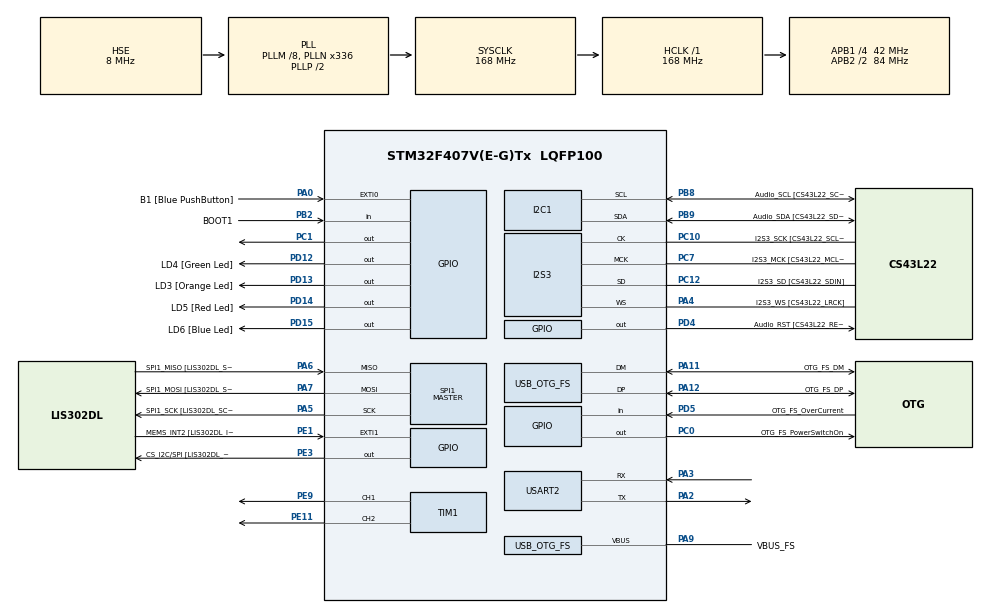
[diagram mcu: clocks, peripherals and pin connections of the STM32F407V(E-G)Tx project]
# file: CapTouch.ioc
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Dma.Request0=TIM1_CH1/CH2/CH3
Dma.TIM1_CH1/CH2/CH3.0.Direction=DMA_MEMORY_TO_PERIPH
Dma.TIM1_CH1/CH2/CH3.0.FIFOMode=DMA_FIFOMODE_DISABLE
Dma.TIM1_CH1/CH2/CH3.0.Instance=DMA2_Stream6
Dma.TIM1_CH1/CH2/CH3.0.MemDataAlignment=DMA_MDATAALIGN_HALFWORD
Dma.TIM1_CH1/CH2/CH3.0.MemInc=DMA_MINC_ENABLE
Dma.TIM1_CH1/CH2/CH3.0.Mode=DMA_NORMAL
Dma.TIM1_CH1/CH2/CH3.0.PeriphDataAlignment=DMA_PDATAALIGN_HALFWORD
Dma.TIM1_CH1/CH2/CH3.0.PeriphInc=DMA_PINC_DISABLE
Dma.TIM1_CH1/CH2/CH3.0.Priority=DMA_PRIORITY_LOW
I2S3.AudioFreq-Half_Duplex_Master=I2S_AUDIOFREQ_96K
I2S3.ErrorAudioFreq=-2.34 %
I2S3.ErrorAudioFreq-Half_Duplex_Master=0.8 %
I2S3.FullDuplexMode=I2S_FULLDUPLEXMODE_DISABLE
I2S3.Instance=SPI$Index
I2S3.RealAudioFreq=93.75 KHz
I2S3.RealAudioFreq-Half_Duplex_Master=96.774 KHz
I2S3.VirtualMode=I2S_MODE_MASTER
Mcu.Family=STM32F4
Mcu.Name=STM32F407V(E-G)Tx
Mcu.Package=LQFP100
NVIC.DMA2_Stream6_IRQn=true\:0\:0\:false\:false\:true\:false\:true
NVIC.OTG_FS_IRQn=true\:0\:0\:false\:false\:true\:true\:true
NVIC.PriorityGroup=NVIC_PRIORITYGROUP_0
PA0-WKUP.GPIO_Label=B1 [Blue PushButton]
PA0-WKUP.GPIO_ModeDefaultEXTI=GPIO_MODE_EVT_RISING
PA0-WKUP.GPIO_PuPd=GPIO_NOPULL
PA0-WKUP.Signal=GPXTI0
PA10.GPIO_Label=OTG_FS_ID
PA10.GPIO_Mode=GPIO_MODE_AF_PP
PA10.GPIO_PuPd=GPIO_NOPULL
PA10.GPIO_Speed=GPIO_SPEED_FREQ_LOW
PA10.Signal=USB_OTG_FS_ID
PA11.GPIO_Label=OTG_FS_DM
PA11.GPIO_Mode=GPIO_MODE_AF_PP
PA11.GPIO_PuPd=GPIO_NOPULL
PA11.GPIO_Speed=GPIO_SPEED_FREQ_LOW
PA11.Mode=Host_Only
PA11.Signal=USB_OTG_FS_DM
PA12.GPIO_Label=OTG_FS_DP
PA12.GPIO_Mode=GPIO_MODE_AF_PP
PA12.GPIO_PuPd=GPIO_NOPULL
PA12.GPIO_Speed=GPIO_SPEED_FREQ_LOW
PA12.Mode=Host_Only
PA12.Signal=USB_OTG_FS_DP
PA13.GPIO_Label=SWDIO
PA13.Mode=Serial_Wire
PA13.Signal=SYS_JTMS-SWDIO
PA14.GPIO_Label=SWCLK
PA14.Mode=Serial_Wire
PA14.Signal=SYS_JTCK-SWCLK
PA2.Mode=Asynchronous
PA2.Signal=USART2_TX
PA3.Mode=Asynchronous
PA3.Signal=USART2_RX
PA4.GPIO_Label=I2S3_WS [CS43L22_LRCK]
PA4.GPIO_Mode=GPIO_MODE_AF_PP
PA4.GPIO_PuPd=GPIO_NOPULL
PA4.GPIO_Speed=GPIO_SPEED_FREQ_LOW
PA4.Mode=Half_Duplex_Master
PA4.Signal=I2S3_WS
PA5.GPIO_Label=SPI1_SCK [LIS302DL_SCL/SPC]
PA5.GPIO_Mode=GPIO_MODE_AF_PP
PA5.GPIO_PuPd=GPIO_NOPULL
PA5.GPIO_Speed=GPIO_SPEED_FREQ_LOW
PA5.Mode=Full_Duplex_Master
PA5.Signal=SPI1_SCK
PA6.GPIO_Label=SPI1_MISO [LIS302DL_SDO]
PA6.GPIO_Mode=GPIO_MODE_AF_PP
PA6.GPIO_PuPd=GPIO_NOPULL
PA6.GPIO_Speed=GPIO_SPEED_FREQ_LOW
PA6.Mode=Full_Duplex_Master
PA6.Signal=SPI1_MISO
PA7.GPIO_Label=SPI1_MOSI [LIS302DL_SDA/SDI/SDO]
PA7.GPIO_Mode=GPIO_MODE_AF_PP
PA7.GPIO_PuPd=GPIO_NOPULL
PA7.GPIO_Speed=GPIO_SPEED_FREQ_LOW
PA7.Mode=Full_Duplex_Master
PA7.Signal=SPI1_MOSI
PA9.GPIO_Label=VBUS_FS
PA9.GPIO_Mode=GPIO_MODE_INPUT
PA9.GPIO_PuPd=GPIO_NOPULL
PA9.Mode=Activate_VBUS
PA9.Signal=USB_OTG_FS_VBUS
PB10.GPIO_Label=CLK_IN [MP45DT02_CLK]
PB10.GPIO_Mode=GPIO_MODE_AF_PP
PB10.GPIO_PuPd=GPIO_NOPULL
PB10.GPIO_Speed=GPIO_SPEED_FREQ_LOW
PB10.Signal=I2S2_CK
PB2.GPIO_Label=BOOT1
PB2.GPIO_Mode=GPIO_MODE_INPUT
PB2.GPIO_PuPd=GPIO_NOPULL
PB2.Signal=GPIO_Input
PB3.Signal=SYS_JTDO-SWO
PB8.GPIO_Label=Audio_SCL [CS43L22_SCL]
PB8.GPIO_Mode=GPIO_MODE_AF_OD
PB8.GPIO_Pu=GPIO_PULLUP
PB8.GPIO_Speed=GPIO_SPEED_FREQ_LOW
PB8.Mode=I2C
PB8.Signal=I2C1_SCL
PB9.GPIO_Label=Audio_SDA [CS43L22_SDA]
PB9.GPIO_Mode=GPIO_MODE_AF_OD
PB9.GPIO_Pu=GPIO_PULLUP
PB9.GPIO_PuPd=GPIO_NOPULL
PB9.GPIO_Speed=GPIO_SPEED_FREQ_LOW
PB9.Mode=I2C
PB9.Signal=I2C1_SDA
PC0.GPIO_Label=OTG_FS_PowerSwitchOn
PC0.GPIO_PuPd=GPIO_NOPULL
PC0.GPIO_Speed=GPIO_SPEED_FREQ_LOW
PC0.PinState=GPIO_PIN_SET
PC0.Signal=GPIO_Output
PC1.Signal=GPIO_Output
PC10.GPIO_Label=I2S3_SCK [CS43L22_SCLK]
PC10.GPIO_Mode=GPIO_MODE_AF_PP
PC10.GPIO_PuPd=GPIO_NOPULL
PC10.GPIO_Speed=GPIO_SPEED_FREQ_LOW
PC10.Mode=Half_Duplex_Master
PC10.Signal=I2S3_CK
PC12.GPIO_Label=I2S3_SD [CS43L22_SDIN]
PC12.GPIO_Mode=GPIO_MODE_AF_PP
PC12.GPIO_PuPd=GPIO_NOPULL
PC12.GPIO_Speed=GPIO_SPEED_FREQ_LOW
PC12.Mode=Half_Duplex_Master
PC12.Signal=I2S3_SD
PC14-OSC32_IN.GPIO_Label=PC14-OSC32_IN
PC14-OSC32_IN.Mode=LSE-External-Oscillator
PC14-OSC32_IN.Signal=RCC_OSC32_IN
PC15-OSC32_OUT.GPIO_Label=PC15-OSC32_OUT
PC15-OSC32_OUT.Mode=LSE-External-Oscillator
PC15-OSC32_OUT.Signal=RCC_OSC32_OUT
PC3.GPIO_Label=PDM_OUT [MP45DT02_DOUT]
PC3.GPIO_Mode=GPIO_MODE_AF_PP
PC3.GPIO_PuPd=GPIO_NOPULL
PC3.GPIO_Speed=GPIO_SPEED_FREQ_LOW
PC3.Signal=I2S2_SD
PC7.GPIO_Label=I2S3_MCK [CS43L22_MCLK]
PC7.GPIO_Mode=GPIO_MODE_AF_PP
PC7.GPIO_PuPd=GPIO_NOPULL
PC7.GPIO_Speed=GPIO_SPEED_FREQ_LOW
PC7.Mode=Master_Clock_Activated
PC7.Signal=I2S3_MCK
PD12.GPIO_Label=LD4 [Green Led]
PD12.GPIO_PuPd=GPIO_NOPULL
PD12.GPIO_Speed=GPIO_SPEED_FREQ_LOW
PD12.Signal=GPIO_Output
PD13.GPIO_Label=LD3 [Orange Led]
PD13.GPIO_PuPd=GPIO_NOPULL
PD13.GPIO_Speed=GPIO_SPEED_FREQ_LOW
PD13.Signal=GPIO_Output
PD14.GPIO_Label=LD5 [Red Led]
PD14.GPIO_PuPd=GPIO_NOPULL
PD14.GPIO_Speed=GPIO_SPEED_FREQ_LOW
PD14.Signal=GPIO_Output
PD15.GPIO_Label=LD6 [Blue Led]
PD15.GPIO_PuPd=GPIO_NOPULL
PD15.GPIO_Speed=GPIO_SPEED_FREQ_LOW
PD15.Signal=GPIO_Output
PD4.GPIO_Label=Audio_RST [CS43L22_RESET]
PD4.GPIO_PuPd=GPIO_NOPULL
PD4.GPIO_Speed=GPIO_SPEED_FREQ_LOW
PD4.Signal=GPIO_Output
PD5.GPIO_Label=OTG_FS_OverCurrent
PD5.GPIO_Mode=GPIO_MODE_INPUT
PD5.GPIO_PuPd=GPIO_NOPULL
PD5.Signal=GPIO_Input
PE1.GPIO_Label=MEMS_INT2 [LIS302DL_INT2]
PE1.GPIO_ModeDefaultEXTI=GPIO_MODE_EVT_RISING
PE1.GPIO_PuPd=GPIO_NOPULL
PE1.Signal=GPXTI1
PE11.Signal=S_TIM1_CH2
PE3.GPIO_Label=CS_I2C/SPI [LIS302DL_CS_I2C/SPI]
PE3.GPIO_PuPd=GPIO_NOPULL
PE3.GPIO_Speed=GPIO_SPEED_FREQ_LOW
PE3.Signal=GPIO_Output
PE9.Signal=S_TIM1_CH1
PH0-OSC_IN.GPIO_Label=PH0-OSC_IN
PH0-OSC_IN.Mode=HSE-External-Oscillator
PH0-OSC_IN.Signal=RCC_OSC_IN
PH1-OSC_OUT.GPIO_Label=PH1-OSC_OUT
PH1-OSC_OUT.Mode=HSE-External-Oscillator
PH1-OSC_OUT.Signal=RCC_OSC_OUT
ProjectManager.HeapSize=0x200
ProjectManager.StackSize=0x400
ProjectManager.TargetToolchain=STM32CubeIDE
RCC.48MHZClocksFreq_Value=48000000
RCC.AHBFreq_Value=168000000
RCC.APB1CLKDivider=RCC_HCLK_DIV4
RCC.APB1Freq_Value=42000000
RCC.APB1TimFreq_Value=84000000
RCC.APB2CLKDivider=RCC_HCLK_DIV2
RCC.APB2Freq_Value=84000000
RCC.APB2TimFreq_Value=168000000
RCC.CortexFreq_Value=168000000
RCC.HCLKFreq_Value=168000000
RCC.HSE_VALUE=8000000
RCC.HSI_VALUE=16000000
RCC.PLLM=8
RCC.PLLN=336
RCC.PLLQ=7
RCC.SYSCLKFreq_VALUE=168000000
RCC.SYSCLKSource=RCC_SYSCLKSOURCE_PLLCLK
RCC.VCOOutputFreq_Value=336000000
SH.S_TIM1_CH1.0=TIM1_CH1,PWM Generation1 CH1
SH.S_TIM1_CH2.0=TIM1_CH2,PWM Generation2 CH2
SPI1.BaudRatePrescaler-Full_Duplex_Master=SPI_BAUDRATEPRESCALER_2
SPI1.CalculateBaudRate-Full_Duplex_Master=42.0 MBits/s
SPI1.Direction=SPI_DIRECTION_2LINES
SPI1.Mode=SPI_MODE_MASTER
SPI1.Mode-Full_Duplex_Master=SPI_MODE_MASTER
SPI1.VirtualType=VM_MASTER
TIM1.Channel-PWM\ Generation1\ CH1=TIM_CHANNEL_1
TIM1.Channel-PWM\ Generation2\ CH2=TIM_CHANNEL_2
USART2.VirtualMode=VM_ASYNC
USB_HOST.BSP.number=1
USB_HOST.USBH_HandleTypeDef-CDC_FS=hUsbHostFS
USB_HOST.VirtualModeFS=Cdc
USB_HOST0.BSP.STBoard=false
USB_HOST0.BSP.api=Unknown
USB_HOST0.BSP.i2caddr=0
USB_HOST0.BSP.i2creg=0
USB_HOST0.BSP.instance=PC0
USB_HOST0.BSP.ip=GPIO
USB_HOST0.BSP.mode=Output
USB_HOST0.BSP.name=Drive_VBUS_FS
USB_HOST0.BSP.solution=PC0
USB_OTG_FS.VirtualMode=Host_Only
USB_OTG_FS.phy_itface=HCD_PHY_EMBEDDED
VP_USB_HOST_VS_USB_HOST_CDC_FS.Mode=CDC_FS
board=STM32F407G-DISC1

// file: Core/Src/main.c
/* USER CODE BEGIN Header */
/**
  ******************************************************************************
  * @file           : main.c
  * @brief          : Main program body
  ******************************************************************************
  * @attention
  *
  * Copyright (c) 2022 STMicroelectronics.
  * All rights reserved.
  *
  * This software is licensed under terms that can be found in the LICENSE file
  * in the root directory of this software component.
  * If no LICENSE file comes with this software, it is provided AS-IS.
  *
  ******************************************************************************
  */
/* USER CODE END Header */
#include "main.h"
#include "usb_host.h"

/* USER CODE BEGIN Includes */
#include <string.h>
#include <stdio.h>
#include "LEDControl.h"
/* USER CODE END Includes */

I2C_HandleTypeDef hi2c1;

I2S_HandleTypeDef hi2s3;

SPI_HandleTypeDef hspi1;

TIM_HandleTypeDef htim1;
DMA_HandleTypeDef hdma_tim1_ch1_ch2_ch3;

UART_HandleTypeDef huart2;

/* USER CODE BEGIN PV */
static const uint8_t MPR121_ADDR0 = 0x5C << 1;
static const uint8_t MPR121_ADDR1 = 0x5B << 1;
static const uint8_t MPR121_ADDR2 = 0x5A << 1;
static const uint8_t REG_TOUCH0 = 0x00;
//static const uint8_t REG_TOUCH1 = 0x01;
/* USER CODE END PV */

void SystemClock_Config(void);
static void MX_GPIO_Init(void);
static void MX_I2C1_Init(void);
static void MX_I2S3_Init(void);
static void MX_SPI1_Init(void);
static void MX_USART2_UART_Init(void);
static void MX_DMA_Init(void);
static void MX_TIM1_Init(void);
void MX_USB_HOST_Process(void);

/* USER CODE BEGIN 0 */
void IIC_ByteWrite(uint8_t dev_addr, uint8_t reg_addr, uint8_t data);
void MPR121_init(uint8_t addr);
uint8_t determinePixel(uint16_t* input, uint8_t* pixelSelected);
/* USER CODE END 0 */

int main(void)
{
  /* USER CODE BEGIN 1 */
	HAL_StatusTypeDef ret0;
	uint8_t bufTouch0[2];
	uint8_t bufTouch1[2];
	uint8_t bufTouch2[2];
	uint16_t capTouch[3];
	uint16_t oldCapTouch[3];
	uint8_t gridLoc[2];
	uint8_t UART1_rxBuffer[12] = {0};
	//float val0;
	uint8_t newTouch = 0;
	//float tester = 0;
  /* USER CODE END 1 */

  /* MCU Configuration--------------------------------------------------------*/

  /* Reset of all peripherals, Initializes the Flash interface and the Systick. */
  HAL_Init();

  /* Configure the system clock */
  SystemClock_Config();

  /* Initialize all configured peripherals */
  MX_GPIO_Init();
  MX_I2C1_Init();
  MX_I2S3_Init();
  MX_SPI1_Init();
  MX_USB_HOST_Init();
  MX_USART2_UART_Init();
  MX_DMA_Init();
  MX_TIM1_Init();
  /* USER CODE BEGIN 2 */
  visInit();
  MPR121_init(MPR121_ADDR0);
  MPR121_init(MPR121_ADDR1);
  MPR121_init(MPR121_ADDR2);
  /* USER CODE END 2 */

  /* Infinite loop */
  /* USER CODE BEGIN WHILE */
  // Soft reset the MPR121

  while (1)
  {

	//bufTouch0[0] = REG_TOUCH0;
	ret0 = HAL_I2C_Master_Transmit(&hi2c1, MPR121_ADDR0, bufTouch0, 1, HAL_MAX_DELAY);
	ret0 = HAL_I2C_Mem_Read(&hi2c1, MPR121_ADDR0, REG_TOUCH0, I2C_MEMADD_SIZE_8BIT, bufTouch0, 2, HAL_MAX_DELAY);
	ret0 = HAL_I2C_Mem_Read(&hi2c1, MPR121_ADDR1, REG_TOUCH0, I2C_MEMADD_SIZE_8BIT, bufTouch1, 2, HAL_MAX_DELAY);
	ret0 = HAL_I2C_Mem_Read(&hi2c1, MPR121_ADDR2, REG_TOUCH0, I2C_MEMADD_SIZE_8BIT, bufTouch2, 2, HAL_MAX_DELAY);
	memcpy(capTouch, bufTouch0, 2*sizeof(uint8_t));
	memcpy(capTouch+1, bufTouch1, 2*sizeof(uint8_t));
	memcpy(capTouch+2, bufTouch2, 2*sizeof(uint8_t));
	if ( ret0 != HAL_OK ) {
		//strcpy((char*)bufTouch0, "Error Rx\r\n");
		//tester = 10;
	} else {

		//sprintf((char*)bufTouch0, "%u\r\n", (unsigned int)val0);
	}
	newTouch = determinePixel(capTouch, gridLoc);
	//visHandle(capTouch, gridLoc, newTouch);
	uint8_t data[] = "HELLO WORLD \r\n";
	//HAL_UART_Transmit (&huart2, data, sizeof (data), 10);
	//ret0 = HAL_UART_Receive (&huart2, UART1_rxBuffer, 12, 5000);

	if (newTouch == 1) {
		char buffer[20];
		sprintf(buffer, "x: %i, y: %i\r\n", gridLoc[0], gridLoc[1]);
		ret0 = HAL_UART_Transmit(&huart2, buffer, sizeof(buffer), HAL_MAX_DELAY);
	}
	HAL_Delay(250);
    /* USER CODE END WHILE */
    MX_USB_HOST_Process();

  }
}

void SystemClock_Config(void)
{
  RCC_OscInitTypeDef RCC_OscInitStruct = {0};
  RCC_ClkInitTypeDef RCC_ClkInitStruct = {0};

  /** Configure the main internal regulator output voltage
  */
  __HAL_RCC_PWR_CLK_ENABLE();
  __HAL_PWR_VOLTAGESCALING_CONFIG(PWR_REGULATOR_VOLTAGE_SCALE1);
  /** Initializes the RCC Oscillators according to the specified parameters
  * in the RCC_OscInitTypeDef structure.
  */
  RCC_OscInitStruct.OscillatorType = RCC_OSCILLATORTYPE_HSE;
  RCC_OscInitStruct.HSEState = RCC_HSE_ON;
  RCC_OscInitStruct.PLL.PLLState = RCC_PLL_ON;
  RCC_OscInitStruct.PLL.PLLSource = RCC_PLLSOURCE_HSE;
  RCC_OscInitStruct.PLL.PLLM = 8;
  RCC_OscInitStruct.PLL.PLLN = 336;
  RCC_OscInitStruct.PLL.PLLP = RCC_PLLP_DIV2;
  RCC_OscInitStruct.PLL.PLLQ = 7;
  if (HAL_RCC_OscConfig(&RCC_OscInitStruct) != HAL_OK)
  {
    Error_Handler();
  }
  /** Initializes the CPU, AHB and APB buses clocks
  */
  RCC_ClkInitStruct.ClockType = RCC_CLOCKTYPE_HCLK|RCC_CLOCKTYPE_SYSCLK
                              |RCC_CLOCKTYPE_PCLK1|RCC_CLOCKTYPE_PCLK2;
  RCC_ClkInitStruct.SYSCLKSource = RCC_SYSCLKSOURCE_PLLCLK;
  RCC_ClkInitStruct.AHBCLKDivider = RCC_SYSCLK_DIV1;
  RCC_ClkInitStruct.APB1CLKDivider = RCC_HCLK_DIV4;
  RCC_ClkInitStruct.APB2CLKDivider = RCC_HCLK_DIV2;

  if (HAL_RCC_ClockConfig(&RCC_ClkInitStruct, FLASH_LATENCY_5) != HAL_OK)
  {
    Error_Handler();
  }
}

static void MX_I2C1_Init(void)
{

  hi2c1.Instance = I2C1;
  hi2c1.Init.ClockSpeed = 100000;
  hi2c1.Init.DutyCycle = I2C_DUTYCYCLE_2;
  hi2c1.Init.OwnAddress1 = 0;
  hi2c1.Init.AddressingMode = I2C_ADDRESSINGMODE_7BIT;
  hi2c1.Init.DualAddressMode = I2C_DUALADDRESS_DISABLE;
  hi2c1.Init.OwnAddress2 = 0;
  hi2c1.Init.GeneralCallMode = I2C_GENERALCALL_DISABLE;
  hi2c1.Init.NoStretchMode = I2C_NOSTRETCH_DISABLE;
  if (HAL_I2C_Init(&hi2c1) != HAL_OK)
  {
    Error_Handler();
  }

}

static void MX_I2S3_Init(void)
{

  hi2s3.Instance = SPI3;
  hi2s3.Init.Mode = I2S_MODE_MASTER_TX;
  hi2s3.Init.Standard = I2S_STANDARD_PHILIPS;
  hi2s3.Init.DataFormat = I2S_DATAFORMAT_16B;
  hi2s3.Init.MCLKOutput = I2S_MCLKOUTPUT_ENABLE;
  hi2s3.Init.AudioFreq = I2S_AUDIOFREQ_96K;
  hi2s3.Init.CPOL = I2S_CPOL_LOW;
  hi2s3.Init.ClockSource = I2S_CLOCK_PLL;
  hi2s3.Init.FullDuplexMode = I2S_FULLDUPLEXMODE_DISABLE;
  if (HAL_I2S_Init(&hi2s3) != HAL_OK)
  {
    Error_Handler();
  }

}

static void MX_SPI1_Init(void)
{

  /* SPI1 parameter configuration*/
  hspi1.Instance = SPI1;
  hspi1.Init.Mode = SPI_MODE_MASTER;
  hspi1.Init.Direction = SPI_DIRECTION_2LINES;
  hspi1.Init.DataSize = SPI_DATASIZE_8BIT;
  hspi1.Init.CLKPolarity = SPI_POLARITY_LOW;
  hspi1.Init.CLKPhase = SPI_PHASE_1EDGE;
  hspi1.Init.NSS = SPI_NSS_SOFT;
  hspi1.Init.BaudRatePrescaler = SPI_BAUDRATEPRESCALER_2;
  hspi1.Init.FirstBit = SPI_FIRSTBIT_MSB;
  hspi1.Init.TIMode = SPI_TIMODE_DISABLE;
  hspi1.Init.CRCCalculation = SPI_CRCCALCULATION_DISABLE;
  hspi1.Init.CRCPolynomial = 10;
  if (HAL_SPI_Init(&hspi1) != HAL_OK)
  {
    Error_Handler();
  }

}

static void MX_TIM1_Init(void)
{

  TIM_MasterConfigTypeDef sMasterConfig = {0};
  TIM_OC_InitTypeDef sConfigOC = {0};
  TIM_BreakDeadTimeConfigTypeDef sBreakDeadTimeConfig = {0};

  htim1.Instance = TIM1;
  htim1.Init.Prescaler = 0;
  htim1.Init.CounterMode = TIM_COUNTERMODE_UP;
  htim1.Init.Period = 65535;
  htim1.Init.ClockDivision = TIM_CLOCKDIVISION_DIV1;
  htim1.Init.RepetitionCounter = 0;
  htim1.Init.AutoReloadPreload = TIM_AUTORELOAD_PRELOAD_DISABLE;
  if (HAL_TIM_PWM_Init(&htim1) != HAL_OK)
  {
    Error_Handler();
  }
  sMasterConfig.MasterOutputTrigger = TIM_TRGO_RESET;
  sMasterConfig.MasterSlaveMode = TIM_MASTERSLAVEMODE_DISABLE;
  if (HAL_TIMEx_MasterConfigSynchronization(&htim1, &sMasterConfig) != HAL_OK)
  {
    Error_Handler();
  }
  sConfigOC.OCMode = TIM_OCMODE_PWM1;
  sConfigOC.Pulse = 0;
  sConfigOC.OCPolarity = TIM_OCPOLARITY_HIGH;
  sConfigOC.OCNPolarity = TIM_OCNPOLARITY_HIGH;
  sConfigOC.OCFastMode = TIM_OCFAST_DISABLE;
  sConfigOC.OCIdleState = TIM_OCIDLESTATE_RESET;
  sConfigOC.OCNIdleState = TIM_OCNIDLESTATE_RESET;
  if (HAL_TIM_PWM_ConfigChannel(&htim1, &sConfigOC, TIM_CHANNEL_1) != HAL_OK)
  {
    Error_Handler();
  }
  if (HAL_TIM_PWM_ConfigChannel(&htim1, &sConfigOC, TIM_CHANNEL_2) != HAL_OK)
  {
    Error_Handler();
  }
  sBreakDeadTimeConfig.OffStateRunMode = TIM_OSSR_DISABLE;
  sBreakDeadTimeConfig.OffStateIDLEMode = TIM_OSSI_DISABLE;
  sBreakDeadTimeConfig.LockLevel = TIM_LOCKLEVEL_OFF;
  sBreakDeadTimeConfig.DeadTime = 0;
  sBreakDeadTimeConfig.BreakState = TIM_BREAK_DISABLE;
  sBreakDeadTimeConfig.BreakPolarity = TIM_BREAKPOLARITY_HIGH;
  sBreakDeadTimeConfig.AutomaticOutput = TIM_AUTOMATICOUTPUT_DISABLE;
  if (HAL_TIMEx_ConfigBreakDeadTime(&htim1, &sBreakDeadTimeConfig) != HAL_OK)
  {
    Error_Handler();
  }
  HAL_TIM_MspPostInit(&htim1);

}

static void MX_USART2_UART_Init(void)
{

  huart2.Instance = USART2;
  huart2.Init.BaudRate = 115200;
  huart2.Init.WordLength = UART_WORDLENGTH_8B;
  huart2.Init.StopBits = UART_STOPBITS_1;
  huart2.Init.Parity = UART_PARITY_NONE;
  huart2.Init.Mode = UART_MODE_TX_RX;
  huart2.Init.HwFlowCtl = UART_HWCONTROL_NONE;
  huart2.Init.OverSampling = UART_OVERSAMPLING_16;
  if (HAL_UART_Init(&huart2) != HAL_OK)
  {
    Error_Handler();
  }

}

static void MX_DMA_Init(void)
{

  /* DMA controller clock enable */
  __HAL_RCC_DMA2_CLK_ENABLE();

  /* DMA interrupt init */
  /* DMA2_Stream6_IRQn interrupt configuration */
  HAL_NVIC_SetPriority(DMA2_Stream6_IRQn, 0, 0);
  HAL_NVIC_EnableIRQ(DMA2_Stream6_IRQn);

}

static void MX_GPIO_Init(void)
{
  GPIO_InitTypeDef GPIO_InitStruct = {0};

  /* GPIO Ports Clock Enable */
  __HAL_RCC_GPIOE_CLK_ENABLE();
  __HAL_RCC_GPIOC_CLK_ENABLE();
  __HAL_RCC_GPIOH_CLK_ENABLE();
  __HAL_RCC_GPIOA_CLK_ENABLE();
  __HAL_RCC_GPIOB_CLK_ENABLE();
  __HAL_RCC_GPIOD_CLK_ENABLE();

  /*Configure GPIO pin Output Level */
  HAL_GPIO_WritePin(CS_I2C_SPI_GPIO_Port, CS_I2C_SPI_Pin, GPIO_PIN_RESET);

  /*Configure GPIO pin Output Level */
  HAL_GPIO_WritePin(OTG_FS_PowerSwitchOn_GPIO_Port, OTG_FS_PowerSwitchOn_Pin, GPIO_PIN_SET);

  /*Configure GPIO pin Output Level */
  HAL_GPIO_WritePin(GPIOC, GPIO_PIN_1, GPIO_PIN_RESET);

  /*Configure GPIO pin Output Level */
  HAL_GPIO_WritePin(GPIOD, LD4_Pin|LD3_Pin|LD5_Pin|LD6_Pin
                          |Audio_RST_Pin, GPIO_PIN_RESET);

  /*Configure GPIO pin : CS_I2C_SPI_Pin */
  GPIO_InitStruct.Pin = CS_I2C_SPI_Pin;
  GPIO_InitStruct.Mode = GPIO_MODE_OUTPUT_PP;
  GPIO_InitStruct.Pull = GPIO_NOPULL;
  GPIO_InitStruct.Speed = GPIO_SPEED_FREQ_LOW;
  HAL_GPIO_Init(CS_I2C_SPI_GPIO_Port, &GPIO_InitStruct);

  /*Configure GPIO pins : OTG_FS_PowerSwitchOn_Pin PC1 */
  GPIO_InitStruct.Pin = OTG_FS_PowerSwitchOn_Pin|GPIO_PIN_1;
  GPIO_InitStruct.Mode = GPIO_MODE_OUTPUT_PP;
  GPIO_InitStruct.Pull = GPIO_NOPULL;
  GPIO_InitStruct.Speed = GPIO_SPEED_FREQ_LOW;
  HAL_GPIO_Init(GPIOC, &GPIO_InitStruct);

  /*Configure GPIO pin : PDM_OUT_Pin */
  GPIO_InitStruct.Pin = PDM_OUT_Pin;
  GPIO_InitStruct.Mode = GPIO_MODE_AF_PP;
  GPIO_InitStruct.Pull = GPIO_NOPULL;
  GPIO_InitStruct.Speed = GPIO_SPEED_FREQ_LOW;
  GPIO_InitStruct.Alternate = GPIO_AF5_SPI2;
  HAL_GPIO_Init(PDM_OUT_GPIO_Port, &GPIO_InitStruct);

  /*Configure GPIO pin : B1_Pin */
  GPIO_InitStruct.Pin = B1_Pin;
  GPIO_InitStruct.Mode = GPIO_MODE_EVT_RISING;
  GPIO_InitStruct.Pull = GPIO_NOPULL;
  HAL_GPIO_Init(B1_GPIO_Port, &GPIO_InitStruct);

  /*Configure GPIO pin : BOOT1_Pin */
  GPIO_InitStruct.Pin = BOOT1_Pin;
  GPIO_InitStruct.Mode = GPIO_MODE_INPUT;
  GPIO_InitStruct.Pull = GPIO_NOPULL;
  HAL_GPIO_Init(BOOT1_GPIO_Port, &GPIO_InitStruct);

  /*Configure GPIO pin : CLK_IN_Pin */
  GPIO_InitStruct.Pin = CLK_IN_Pin;
  GPIO_InitStruct.Mode = GPIO_MODE_AF_PP;
  GPIO_InitStruct.Pull = GPIO_NOPULL;
  GPIO_InitStruct.Speed = GPIO_SPEED_FREQ_LOW;
  GPIO_InitStruct.Alternate = GPIO_AF5_SPI2;
  HAL_GPIO_Init(CLK_IN_GPIO_Port, &GPIO_InitStruct);

  /*Configure GPIO pins : LD4_Pin LD3_Pin LD5_Pin LD6_Pin
                           Audio_RST_Pin */
  GPIO_InitStruct.Pin = LD4_Pin|LD3_Pin|LD5_Pin|LD6_Pin
                          |Audio_RST_Pin;
  GPIO_InitStruct.Mode = GPIO_MODE_OUTPUT_PP;
  GPIO_InitStruct.Pull = GPIO_NOPULL;
  GPIO_InitStruct.Speed = GPIO_SPEED_FREQ_LOW;
  HAL_GPIO_Init(GPIOD, &GPIO_InitStruct);

  /*Configure GPIO pin : OTG_FS_OverCurrent_Pin */
  GPIO_InitStruct.Pin = OTG_FS_OverCurrent_Pin;
  GPIO_InitStruct.Mode = GPIO_MODE_INPUT;
  GPIO_InitStruct.Pull = GPIO_NOPULL;
  HAL_GPIO_Init(OTG_FS_OverCurrent_GPIO_Port, &GPIO_InitStruct);

  /*Configure GPIO pin : MEMS_INT2_Pin */
  GPIO_InitStruct.Pin = MEMS_INT2_Pin;
  GPIO_InitStruct.Mode = GPIO_MODE_EVT_RISING;
  GPIO_InitStruct.Pull = GPIO_NOPULL;
  HAL_GPIO_Init(MEMS_INT2_GPIO_Port, &GPIO_InitStruct);

}

/* USER CODE BEGIN 4 */

void IIC_ByteWrite(uint8_t dev_addr, uint8_t reg_addr, uint8_t data) {
	HAL_I2C_Mem_Write(&hi2c1, dev_addr, reg_addr, I2C_MEMADD_SIZE_8BIT, (uint8_t*)(&data), 1, HAL_MAX_DELAY);
}

void MPR121_init(uint8_t addr) {
  //Reset MPR121 if not reset correctly

	IIC_ByteWrite(addr ,0x80,0x63);  //Soft reset
	IIC_ByteWrite(addr ,0x5E,0x00);  //Stop mode

	  //touch pad baseline filter
	  //rising
	IIC_ByteWrite(addr ,0x2B,0x01); // MAX HALF DELTA Rising
	IIC_ByteWrite(addr ,0x2C,0x01); // NOISE HALF DELTA Rising
	IIC_ByteWrite(addr ,0x2D,0x0E); // NOISE COUNT LIMIT Rising
	IIC_ByteWrite(addr ,0x2E,0x00); // DELAY LIMIT Rising

	  //falling
	IIC_ByteWrite(addr ,0x2F,0x01); // MAX HALF DELTA Falling
	IIC_ByteWrite(addr ,0x30,0x05); // NOISE HALF DELTA Falling
	IIC_ByteWrite(addr ,0x31,0x01); // NOISE COUNT LIMIT Falling
	IIC_ByteWrite(addr ,0x32,0x00); // DELAY LIMIT Falling

	  //touched
	IIC_ByteWrite(addr ,0x33,0x00); // Noise half delta touched
	IIC_ByteWrite(addr ,0x34,0x00); // Noise counts touched
	IIC_ByteWrite(addr ,0x35,0x00); // Filter delay touched

	  //Touch pad threshold
	IIC_ByteWrite(addr ,0x41,TouchThre); // ELE0 TOUCH THRESHOLD
	IIC_ByteWrite(addr ,0x42,ReleaThre); // ELE0 RELEASE THRESHOLD
	IIC_ByteWrite(addr ,0x43,TouchThre); // ELE1 TOUCH THRESHOLD
	IIC_ByteWrite(addr ,0x44,ReleaThre); // ELE1 RELEASE THRESHOLD
	IIC_ByteWrite(addr ,0x45,TouchThre); // ELE2 TOUCH THRESHOLD
	IIC_ByteWrite(addr ,0x46,ReleaThre); // ELE2 RELEASE THRESHOLD
	IIC_ByteWrite(addr ,0x47,TouchThre); // ELE3 TOUCH THRESHOLD
	IIC_ByteWrite(addr ,0x48,ReleaThre); // ELE3 RELEASE THRESHOLD
	IIC_ByteWrite(addr ,0x49,TouchThre); // ELE4 TOUCH THRESHOLD
	IIC_ByteWrite(addr ,0x4A,ReleaThre); // ELE4 RELEASE THRESHOLD
	IIC_ByteWrite(addr ,0x4B,TouchThre); // ELE5 TOUCH THRESHOLD
	IIC_ByteWrite(addr ,0x4C,ReleaThre); // ELE5 RELEASE THRESHOLD
	IIC_ByteWrite(addr ,0x4D,TouchThre); // ELE6 TOUCH THRESHOLD
	IIC_ByteWrite(addr ,0x4E,ReleaThre); // ELE6 RELEASE THRESHOLD
	IIC_ByteWrite(addr ,0x4F,TouchThre); // ELE7 TOUCH THRESHOLD
	IIC_ByteWrite(addr ,0x50,ReleaThre); // ELE7 RELEASE THRESHOLD
	IIC_ByteWrite(addr ,0x51,TouchThre); // ELE8 TOUCH THRESHOLD
	IIC_ByteWrite(addr ,0x52,ReleaThre); // ELE8 RELEASE THRESHOLD
	IIC_ByteWrite(addr ,0x53,TouchThre); // ELE9 TOUCH THRESHOLD
	IIC_ByteWrite(addr ,0x54,ReleaThre); // ELE9 RELEASE THRESHOLD
	IIC_ByteWrite(addr ,0x55,TouchThre); // ELE10 TOUCH THRESHOLD
	IIC_ByteWrite(addr ,0x56,ReleaThre); // ELE10 RELEASE THRESHOLD
	IIC_ByteWrite(addr ,0x57,TouchThre); // ELE11 TOUCH THRESHOLD
	IIC_ByteWrite(addr ,0x58,ReleaThre); // ELE11 RELEASE THRESHOLD

	  //touch /release debounce

	IIC_ByteWrite(addr ,0x5B,0x00);

	  // response time = SFI(10) X ESI(8ms) = 80ms

	IIC_ByteWrite(addr ,0x5D,0x13);

	  //FFI=18

	IIC_ByteWrite(addr ,0x5C,0x80);

	  //Auto configuration

	IIC_ByteWrite(addr ,0x7B,0x8F);

	  // charge to 70% of Vdd , high sensitivity

	IIC_ByteWrite(addr ,0x7D,0xE4);
	IIC_ByteWrite(addr ,0x7E,0x94);
	IIC_ByteWrite(addr ,0x7F,0xCD);

	  // 12 electrodes enabled

	IIC_ByteWrite(addr ,0x5E,0xCC);

}

// Returns a 2 wide array of which pixel was touched on the board
// Input is the concatenated version of each capacitive touch board
uint8_t determinePixel(uint16_t* input, uint8_t* pixelSelected) {
	if ((input[0] & 0x0FFF) == 0 | (((input[2] & 0x0FFF)) << 12 | (input[1] & 0x0FFF)) == 0)
			return 0;
	uint16_t log2X = log2(input[0] & 0x0FFF);
	// X is a power of 2
	if (ceil(log2X) == floor(log2X)) {
		pixelSelected[0] = log2X;
	} else
		return 0;
	uint32_t yInput = ((input[2] & 0x0FFF)) << 12 | (input[1] & 0x0FFF);
	uint16_t log2Y = log2(yInput);
	if (ceil(log2Y) == floor (log2Y))  {
		pixelSelected[1] = log2Y;
	} else
		return 0;
	return 1;
}

/* USER CODE END 4 */

void Error_Handler(void)
{
  __disable_irq();
  while (1)
  {
  }
}
